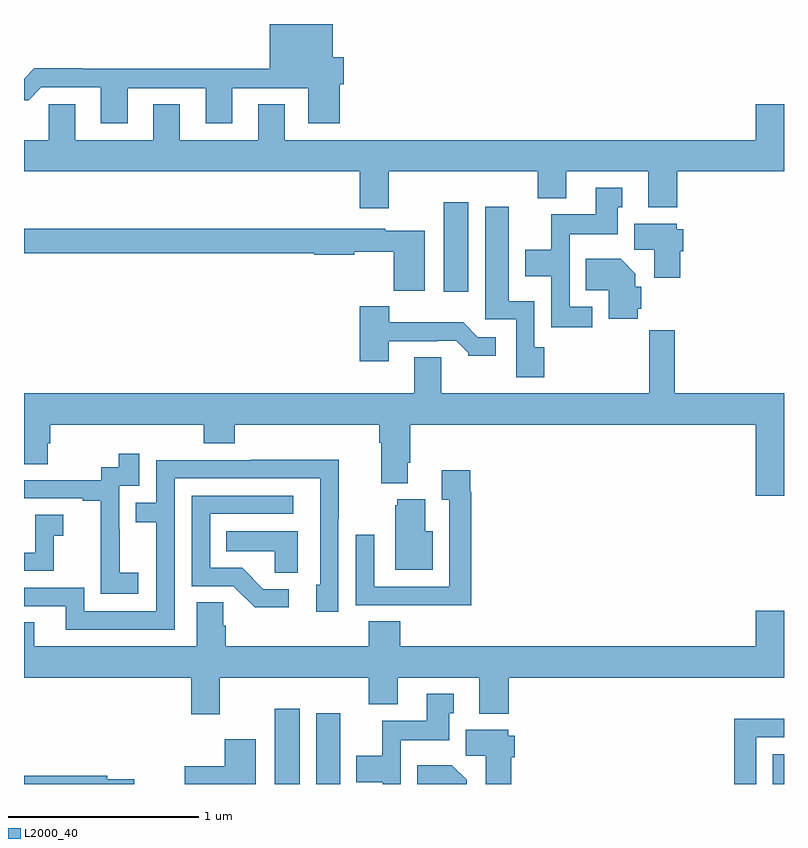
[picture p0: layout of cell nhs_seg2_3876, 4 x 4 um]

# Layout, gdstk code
import gdstk
lib = gdstk.Library(unit=1e-6, precision=1e-09)
def R(c, l, rs):  # rectangles x0, y0, x1, y1
    for r in rs: c.add(gdstk.rectangle(r[:2], r[2:], *l))
def P(c, l, *ps):  # polygons
    for p in ps: c.add(gdstk.Polygon(p, *l))
L2000_40 = (2000, 40)

nhs_seg2_3876 = lib.new_cell('nhs_seg2_3876')
R(nhs_seg2_3876, L2000_40, [(318.32,589.8,318.451,590.197), (318.539,589.8,318.664,590.173), (320.942,589.8,321,589.957), (319.208,592.392,319.339,592.861)])
P(nhs_seg2_3876, L2000_40, [(317.545,593.463),(317.957,593.463),(317.957,593.277),(318.097,593.277),(318.097,593.463),(318.497,593.463),(318.497,593.277),(318.662,593.277),(318.662,593.482),(318.682,593.482),(318.682,593.624),(318.625,593.624),(318.625,593.8),(318.293,593.8),(318.293,593.564),(317.309,593.564),(317.309,593.567),(317.054,593.567),(317,593.513),(317,593.399),(317.024,593.399),(317.091,593.466),(317.405,593.466),(317.405,593.277),(317.545,593.277)],
  [(318.919,593.024),(319.703,593.024),(319.703,592.883),(319.855,592.883),(319.855,593.024),(320.285,593.024),(320.285,592.835),(320.438,592.835),(320.438,593.024),(321,593.024),(321,593.377),(320.852,593.377),(320.852,593.188),(318.373,593.188),(318.373,593.378),(318.233,593.378),(318.233,593.188),(317.821,593.188),(317.821,593.378),(317.681,593.378),(317.681,593.188),(317.269,593.188),(317.269,593.378),(317.13,593.378),(317.13,593.188),(317,593.188),(317,593.024),(318.767,593.024),(318.767,592.83),(318.919,592.83)],
  [(319.99,592.311),(319.872,592.311),(319.872,592.694),(320.125,592.694),(320.125,592.836),(320.149,592.836),(320.149,592.939),(320.009,592.939),(320.009,592.798),(319.774,592.798),(319.774,592.612),(319.637,592.612),(319.637,592.472),(319.776,592.472),(319.776,592.203),(319.99,592.203)],
  [(319.739,592.098),(319.686,592.098),(319.686,592.342),(319.552,592.342),(319.552,592.837),(319.427,592.837),(319.427,592.245),(319.59,592.245),(319.59,591.942),(319.739,591.942)],
  [(320.453,592.605),(320.471,592.605),(320.471,592.719),(320.436,592.719),(320.436,592.75),(320.213,592.75),(320.213,592.612),(320.318,592.612),(320.318,592.464),(320.453,592.464)],
  [(319.108,592.711),(318.9,592.711),(318.9,592.723),(317,592.723),(317,592.594),(318.528,592.594),(318.528,592.586),(318.738,592.586),(318.738,592.601),(318.946,592.601),(318.946,592.397),(319.108,592.397)],
  [(320.231,592.302),(320.249,592.302),(320.249,592.416),(320.218,592.416),(320.218,592.486),(320.14,592.564),(319.957,592.564),(319.957,592.4),(320.078,592.4),(320.078,592.25),(320.231,592.25)],
  [(318.919,592.131),(319.175,592.131),(319.175,592.134),(319.274,592.134),(319.338,592.07),(319.338,592.055),(319.483,592.055),(319.483,592.152),(319.389,592.152),(319.311,592.231),(318.922,592.231),(318.922,592.315),(318.767,592.315),(318.767,592.026),(318.919,592.026)],
  [(321,591.856),(320.426,591.856),(320.426,592.189),(320.29,592.189),(320.29,591.856),(319.195,591.856),(319.195,592.046),(319.055,592.046),(319.055,591.856),(317,591.856),(317,591.484),(317.125,591.484),(317.125,591.594),(317.138,591.594),(317.138,591.692),(317.945,591.692),(317.945,591.593),(318.11,591.593),(318.11,591.692),(318.869,591.692),(318.869,591.596),(318.881,591.596),(318.881,591.383),(319.021,591.383),(319.021,591.49),(319.034,591.49),(319.034,591.692),(320.852,591.692),(320.852,591.318),(321,591.318)],
  [(317.602,590.911),(317.504,590.911),(317.504,591.14),(317.502,591.14),(317.502,591.369),(317.607,591.369),(317.607,591.538),(317.499,591.538),(317.499,591.468),(317.406,591.468),(317.406,591.399),(317,591.399),(317,591.303),(317.309,591.303),(317.309,591.291),(317.405,591.291),(317.405,591.007),(317.404,591.007),(317.404,590.801),(317.602,590.801)],
  [(317.793,591.408),(318.558,591.408),(318.558,590.85),(318.539,590.85),(318.539,590.706),(318.654,590.706),(318.654,591.199),(318.657,591.199),(318.657,591.506),(318.193,591.506),(318.193,591.504),(317.697,591.504),(317.697,591.279),(317.587,591.279),(317.587,591.178),(317.697,591.178),(317.697,590.709),(317.316,590.709),(317.316,590.832),(317,590.832),(317,590.736),(317.219,590.736),(317.219,590.613),(317.793,590.613)],
  [(319.355,591.338),(319.348,591.338),(319.348,591.451),(319.199,591.451),(319.199,591.295),(319.239,591.295),(319.239,590.838),(318.843,590.838),(318.843,591.112),(318.747,591.112),(318.747,590.742),(319.063,590.742),(319.063,590.741),(319.355,590.741)],
  [(318.394,590.826),(318.259,590.826),(318.148,590.937),(317.979,590.937),(317.979,591.222),(318.418,591.222),(318.418,591.318),(317.883,591.318),(317.883,590.841),(318.102,590.841),(318.215,590.729),(318.394,590.729)],
  [(319.15,591.13),(319.111,591.13),(319.111,591.298),(318.965,591.298),(318.965,591.267),(318.953,591.267),(318.953,590.927),(319.15,590.927)],
  [(317.157,591.107),(317.206,591.107),(317.206,591.217),(317.058,591.217),(317.058,591.018),(317,591.018),(317,590.922),(317.157,590.922)],
  [(318.442,591.13),(318.064,591.13),(318.064,591.026),(318.321,591.026),(318.321,590.911),(318.442,590.911)],
  [(318.031,590.36),(318.815,590.36),(318.815,590.219),(318.967,590.219),(318.967,590.36),(319.397,590.36),(319.397,590.171),(319.55,590.171),(319.55,590.36),(321,590.36),(321,590.713),(320.852,590.713),(320.852,590.524),(318.98,590.524),(318.98,590.657),(318.815,590.657),(318.815,590.524),(318.062,590.524),(318.062,590.633),(318.048,590.633),(318.048,590.756),(317.909,590.756),(317.909,590.524),(317.053,590.524),(317.053,590.651),(317,590.651),(317,590.36),(317.879,590.36),(317.879,590.166),(318.031,590.166)],
  [(318.984,590.03),(319.237,590.03),(319.237,590.172),(319.261,590.172),(319.261,590.275),(319.121,590.275),(319.121,590.134),(318.886,590.134),(318.886,589.948),(318.749,589.948),(318.749,589.808),(318.888,589.808),(318.888,589.8),(318.984,589.8)],
  [(320.853,590.046),(321,590.046),(321,590.144),(320.737,590.144),(320.737,589.8),(320.853,589.8)],
  [(319.565,589.941),(319.583,589.941),(319.583,590.055),(319.548,590.055),(319.548,590.086),(319.325,590.086),(319.325,589.948),(319.43,589.948),(319.43,589.8),(319.565,589.8)],
  [(318.22,590.035),(318.056,590.035),(318.056,589.894),(317.847,589.894),(317.847,589.8),(318.22,589.8)],
  [(319.33,589.822),(319.252,589.9),(319.069,589.9),(319.069,589.8),(319.33,589.8)],
  [(317.58,589.824),(317.438,589.824),(317.438,589.844),(317,589.844),(317,589.8),(317.58,589.8)])

lib.write_gds('nhs_seg2_3876.gds')
